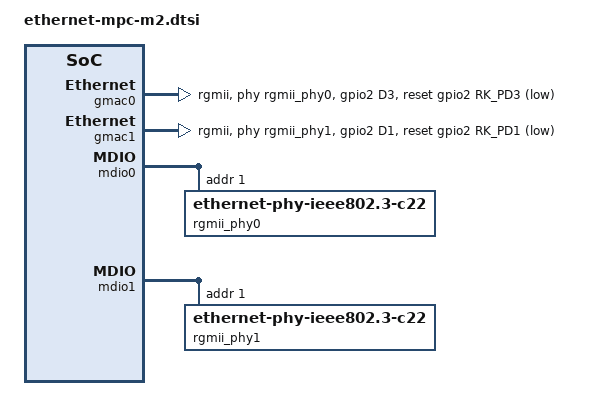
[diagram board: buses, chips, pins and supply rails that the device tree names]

&gmac0 {
	phy-mode = "rgmii";
	clock_in_out = "input";

	assigned-clocks = <&cru SCLK_GMAC0_RX_TX>, <&cru SCLK_GMAC0>;
	assigned-clock-parents = <&cru SCLK_GMAC0_RGMII_SPEED>;

	pinctrl-names = "default";
	pinctrl-0 = <	&gmac0_miim
					&gmac0_tx_bus2
					&gmac0_rx_bus2
					&gmac0_rgmii_clk
					&gmac0_rgmii_bus
					&gmac0_clkinout
					&rgmii_phy0_reset_pin>;

	// PHY0_RSTn
	// 0 -> 0
	// 1 -> 1
	snps,reset-gpio = <&gpio2 RK_PD3 GPIO_ACTIVE_LOW>;
	snps,reset-active-low;

	// Reset time is 20ms, 100ms for rtl8211f
	snps,reset-delays-us = <0 20000 100000>;

	tx_delay = <0x3c>;
	rx_delay = <0x2f>;

	phy-handle = <&rgmii_phy0>;
	status = "okay";
};

&gmac1 {
	phy-mode = "rgmii";
	clock_in_out = "input";

	assigned-clocks = <&cru SCLK_GMAC1_RX_TX>, <&cru SCLK_GMAC1>;
	assigned-clock-parents = <&cru SCLK_GMAC1_RGMII_SPEED>;

	pinctrl-names = "default";
	pinctrl-0 = <	&gmac1m1_miim
					&gmac1m1_tx_bus2
					&gmac1m1_rx_bus2
					&gmac1m1_rgmii_clk
					&gmac1m1_rgmii_bus
					&gmac1m1_clkinout
					&rgmii_phy1_reset_pin>;

	// PHY1_RSTn
	// 0 -> 0
	// 1 -> 1
	snps,reset-gpio = <&gpio2 RK_PD1 GPIO_ACTIVE_LOW>;
	snps,reset-active-low;

	// Reset time is 20ms, 100ms for rtl8211f
	snps,reset-delays-us = <0 20000 100000>;

	tx_delay = <0x4f>;
	rx_delay = <0x26>;

	phy-handle = <&rgmii_phy1>;
	status = "okay";
};


&mdio0 {
	rgmii_phy0: ethernet-phy@1 {
		compatible = "ethernet-phy-ieee802.3-c22";
		reg = <0x1>;
	};
};

&mdio1 {
	rgmii_phy1: ethernet-phy@1 {
		compatible = "ethernet-phy-ieee802.3-c22";
		reg = <0x1>;
	};
};

&pinctrl {
	rgmii_phy0_reset {
		rgmii_phy0_reset_pin: rgmii-phy0-reset-pin {

			// PHY0_RSTn
			// 0 -> 0
			// 1 -> 1
			rockchip,pins = <2 RK_PD3 RK_FUNC_GPIO &pcfg_pull_none>;
		};
	};

	rgmii_phy1_reset {
		rgmii_phy1_reset_pin: rgmii-phy1-reset-pin {

			// PHY1_RSTn
			// 0 -> 0
			// 1 -> 1
			rockchip,pins = <2 RK_PD1 RK_FUNC_GPIO &pcfg_pull_none>;
		};
	};
};
